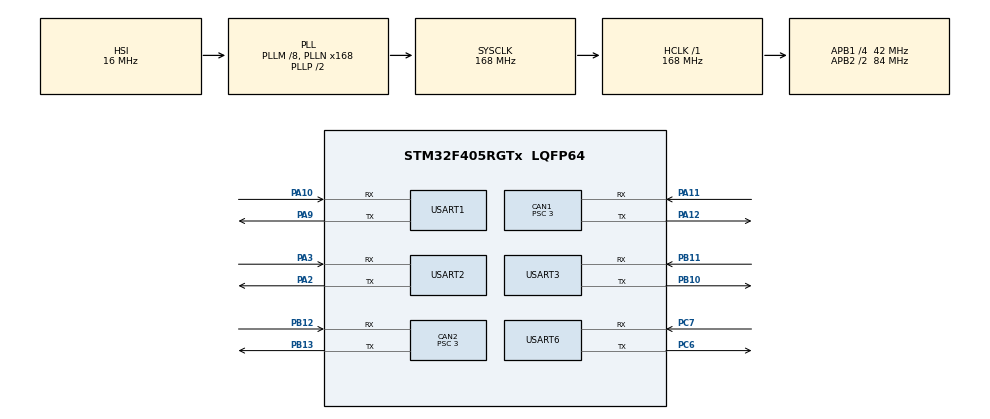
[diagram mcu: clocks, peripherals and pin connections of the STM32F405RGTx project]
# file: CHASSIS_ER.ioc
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CAN1.BS1=CAN_BS1_7TQ
CAN1.BS2=CAN_BS2_6TQ
CAN1.CalculateBaudRate=1000000
CAN1.CalculateTimeBit=1000
CAN1.CalculateTimeQuantum=71.42857142857143
CAN1.Prescaler=3
CAN2.BS1=CAN_BS1_7TQ
CAN2.BS2=CAN_BS2_6TQ
CAN2.CalculateBaudRate=1000000
CAN2.CalculateTimeBit=1000
CAN2.CalculateTimeQuantum=71.42857142857143
CAN2.Prescaler=3
Dma.Request0=USART1_TX
Dma.Request1=USART6_RX
Dma.Request2=USART2_RX
Dma.Request3=USART3_RX
Dma.USART1_TX.0.Direction=DMA_MEMORY_TO_PERIPH
Dma.USART1_TX.0.FIFOMode=DMA_FIFOMODE_DISABLE
Dma.USART1_TX.0.Instance=DMA2_Stream7
Dma.USART1_TX.0.MemDataAlignment=DMA_MDATAALIGN_BYTE
Dma.USART1_TX.0.MemInc=DMA_MINC_ENABLE
Dma.USART1_TX.0.Mode=DMA_NORMAL
Dma.USART1_TX.0.PeriphDataAlignment=DMA_PDATAALIGN_BYTE
Dma.USART1_TX.0.PeriphInc=DMA_PINC_DISABLE
Dma.USART1_TX.0.Priority=DMA_PRIORITY_LOW
Dma.USART2_RX.2.Direction=DMA_PERIPH_TO_MEMORY
Dma.USART2_RX.2.FIFOMode=DMA_FIFOMODE_DISABLE
Dma.USART2_RX.2.Instance=DMA1_Stream5
Dma.USART2_RX.2.MemDataAlignment=DMA_MDATAALIGN_BYTE
Dma.USART2_RX.2.MemInc=DMA_MINC_ENABLE
Dma.USART2_RX.2.Mode=DMA_NORMAL
Dma.USART2_RX.2.PeriphDataAlignment=DMA_PDATAALIGN_BYTE
Dma.USART2_RX.2.PeriphInc=DMA_PINC_DISABLE
Dma.USART2_RX.2.Priority=DMA_PRIORITY_LOW
Dma.USART3_RX.3.Direction=DMA_PERIPH_TO_MEMORY
Dma.USART3_RX.3.FIFOMode=DMA_FIFOMODE_DISABLE
Dma.USART3_RX.3.Instance=DMA1_Stream1
Dma.USART3_RX.3.MemDataAlignment=DMA_MDATAALIGN_BYTE
Dma.USART3_RX.3.MemInc=DMA_MINC_ENABLE
Dma.USART3_RX.3.Mode=DMA_NORMAL
Dma.USART3_RX.3.PeriphDataAlignment=DMA_PDATAALIGN_BYTE
Dma.USART3_RX.3.PeriphInc=DMA_PINC_DISABLE
Dma.USART3_RX.3.Priority=DMA_PRIORITY_LOW
Dma.USART6_RX.1.Direction=DMA_PERIPH_TO_MEMORY
Dma.USART6_RX.1.FIFOMode=DMA_FIFOMODE_DISABLE
Dma.USART6_RX.1.Instance=DMA2_Stream1
Dma.USART6_RX.1.MemDataAlignment=DMA_MDATAALIGN_BYTE
Dma.USART6_RX.1.MemInc=DMA_MINC_ENABLE
Dma.USART6_RX.1.Mode=DMA_NORMAL
Dma.USART6_RX.1.PeriphDataAlignment=DMA_PDATAALIGN_BYTE
Dma.USART6_RX.1.PeriphInc=DMA_PINC_DISABLE
Dma.USART6_RX.1.Priority=DMA_PRIORITY_LOW
FREERTOS.MEMORY_ALLOCATION=0
FREERTOS.Queues01=angle_front,1,float,0,Dynamic,NULL,NULL;angle_left,1,float,0,Dynamic,NULL,NULL;angle_right,1,float,0,Dynamic,NULL,NULL
FREERTOS.Tasks01=DebugTask,-2,1024,Debug,Default,NULL,Dynamic,NULL,NULL;AngleTask,0,1024,Angle,Default,NULL,Dynamic,NULL,NULL;SpeedTask,0,1024,Speed,Default,NULL,Dynamic,NULL,NULL;HeartbeatTask,2,1024,Heartbeat,Default,NULL,Dynamic,NULL,NULL
FREERTOS.configENABLE_FPU=1
FREERTOS.configTOTAL_HEAP_SIZE=25360
Mcu.Family=STM32F4
Mcu.Name=STM32F405RGTx
Mcu.Package=LQFP64
NVIC.CAN1_RX0_IRQn=true\:5\:0\:false\:false\:true\:true\:true\:true\:true
NVIC.CAN2_RX0_IRQn=true\:5\:0\:false\:false\:true\:true\:true\:true\:true
NVIC.DMA1_Stream1_IRQn=true\:5\:0\:false\:false\:true\:true\:false\:true\:true
NVIC.DMA1_Stream5_IRQn=true\:5\:0\:false\:false\:true\:true\:false\:true\:true
NVIC.DMA2_Stream1_IRQn=true\:5\:0\:false\:false\:true\:true\:false\:true\:true
NVIC.DMA2_Stream7_IRQn=true\:5\:0\:false\:false\:true\:true\:false\:true\:true
NVIC.PriorityGroup=NVIC_PRIORITYGROUP_4
NVIC.USART1_IRQn=true\:5\:0\:false\:false\:true\:true\:true\:true\:true
NVIC.USART2_IRQn=true\:5\:0\:false\:false\:true\:true\:true\:true\:true
NVIC.USART3_IRQn=true\:5\:0\:false\:false\:true\:true\:true\:true\:true
NVIC.USART6_IRQn=true\:5\:0\:false\:false\:true\:true\:true\:true\:true
PA10.Mode=Asynchronous
PA10.Signal=USART1_RX
PA11.Mode=CAN_Activate
PA11.Signal=CAN1_RX
PA12.Mode=CAN_Activate
PA12.Signal=CAN1_TX
PA2.Mode=Asynchronous
PA2.Signal=USART2_TX
PA3.Mode=Asynchronous
PA3.Signal=USART2_RX
PA9.Mode=Asynchronous
PA9.Signal=USART1_TX
PB10.Mode=Asynchronous
PB10.Signal=USART3_TX
PB11.Mode=Asynchronous
PB11.Signal=USART3_RX
PB12.Mode=CAN_Activate
PB12.Signal=CAN2_RX
PB13.Mode=CAN_Activate
PB13.Signal=CAN2_TX
PC6.Mode=Asynchronous
PC6.Signal=USART6_TX
PC7.Mode=Asynchronous
PC7.Signal=USART6_RX
PH0-OSC_IN.Mode=HSE-External-Oscillator
PH0-OSC_IN.Signal=RCC_OSC_IN
PH1-OSC_OUT.Mode=HSE-External-Oscillator
PH1-OSC_OUT.Signal=RCC_OSC_OUT
ProjectManager.HeapSize=0x200
ProjectManager.StackSize=0x400
ProjectManager.TargetToolchain=STM32CubeIDE
RCC.48MHZClocksFreq_Value=84000000
RCC.AHBFreq_Value=168000000
RCC.APB1CLKDivider=RCC_HCLK_DIV4
RCC.APB1Freq_Value=42000000
RCC.APB1TimFreq_Value=84000000
RCC.APB2CLKDivider=RCC_HCLK_DIV2
RCC.APB2Freq_Value=84000000
RCC.APB2TimFreq_Value=168000000
RCC.CortexFreq_Value=168000000
RCC.HCLKFreq_Value=168000000
RCC.HSE_VALUE=8000000
RCC.HSI_VALUE=16000000
RCC.LSE_VALUE=32768
RCC.PLLM=8
RCC.PLLN=168
RCC.SYSCLKFreq_VALUE=168000000
RCC.SYSCLKSource=RCC_SYSCLKSOURCE_PLLCLK
RCC.VCOOutputFreq_Value=336000000
USART1.VirtualMode=VM_ASYNC
USART2.VirtualMode=VM_ASYNC
USART3.VirtualMode=VM_ASYNC
USART6.VirtualMode=VM_ASYNC
VP_FREERTOS_VS_CMSIS_V1.Mode=CMSIS_V1
board=custom

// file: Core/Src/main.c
/* USER CODE BEGIN Header */
/**
  ******************************************************************************
  * @file           : main.c
  * @brief          : Main program body
  ******************************************************************************
  * @attention
  *
  * Copyright (c) 2023 STMicroelectronics.
  * All rights reserved.
  *
  * This software is licensed under terms that can be found in the LICENSE file
  * in the root directory of this software component.
  * If no LICENSE file comes with this software, it is provided AS-IS.
  *
  ******************************************************************************
  */
/* USER CODE END Header */
#include "main.h"
#include "cmsis_os.h"
#include "can.h"
#include "dma.h"
#include "usart.h"
#include "gpio.h"
#include "retarget.h"

void SystemClock_Config(void);
void MX_FREERTOS_Init(void);

int main(void)
{

  /* MCU Configuration--------------------------------------------------------*/

  /* Reset of all peripherals, Initializes the Flash interface and the Systick. */
  HAL_Init();

  /* Configure the system clock */
  SystemClock_Config();

  /* Initialize all configured peripherals */
  MX_GPIO_Init();
  MX_DMA_Init();
  MX_CAN1_Init();
  MX_CAN2_Init();
  MX_USART1_UART_Init();
  MX_USART6_UART_Init();
  MX_USART2_UART_Init();
  MX_USART3_UART_Init();
  /* USER CODE BEGIN 2 */
    RetargetInit(&huart1);
  /* USER CODE END 2 */

  /* Call init function for freertos objects (in freertos.c) */
  MX_FREERTOS_Init();

  /* Start scheduler */
  osKernelStart();

  /* We should never get here as control is now taken by the scheduler */
  /* Infinite loop */
  while (1)
  {

  }
}

void SystemClock_Config(void)
{
  RCC_OscInitTypeDef RCC_OscInitStruct = {0};
  RCC_ClkInitTypeDef RCC_ClkInitStruct = {0};

  /** Configure the main internal regulator output voltage
  */
  __HAL_RCC_PWR_CLK_ENABLE();
  __HAL_PWR_VOLTAGESCALING_CONFIG(PWR_REGULATOR_VOLTAGE_SCALE1);

  /** Initializes the RCC Oscillators according to the specified parameters
  * in the RCC_OscInitTypeDef structure.
  */
  RCC_OscInitStruct.OscillatorType = RCC_OSCILLATORTYPE_HSI;
  RCC_OscInitStruct.HSIState = RCC_HSI_ON;
  RCC_OscInitStruct.HSICalibrationValue = RCC_HSICALIBRATION_DEFAULT;
  RCC_OscInitStruct.PLL.PLLState = RCC_PLL_ON;
  RCC_OscInitStruct.PLL.PLLSource = RCC_PLLSOURCE_HSI;
  RCC_OscInitStruct.PLL.PLLM = 8;
  RCC_OscInitStruct.PLL.PLLN = 168;
  RCC_OscInitStruct.PLL.PLLP = RCC_PLLP_DIV2;
  RCC_OscInitStruct.PLL.PLLQ = 4;
  if (HAL_RCC_OscConfig(&RCC_OscInitStruct) != HAL_OK)
  {
    Error_Handler();
  }

  /** Initializes the CPU, AHB and APB buses clocks
  */
  RCC_ClkInitStruct.ClockType = RCC_CLOCKTYPE_HCLK|RCC_CLOCKTYPE_SYSCLK
                              |RCC_CLOCKTYPE_PCLK1|RCC_CLOCKTYPE_PCLK2;
  RCC_ClkInitStruct.SYSCLKSource = RCC_SYSCLKSOURCE_PLLCLK;
  RCC_ClkInitStruct.AHBCLKDivider = RCC_SYSCLK_DIV1;
  RCC_ClkInitStruct.APB1CLKDivider = RCC_HCLK_DIV4;
  RCC_ClkInitStruct.APB2CLKDivider = RCC_HCLK_DIV2;

  if (HAL_RCC_ClockConfig(&RCC_ClkInitStruct, FLASH_LATENCY_5) != HAL_OK)
  {
    Error_Handler();
  }
}

void Error_Handler(void)
{
  __disable_irq();
  while (1)
  {
  }
}

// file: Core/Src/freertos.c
/* USER CODE BEGIN Header */
/**
  ******************************************************************************
  * File Name          : freertos.c
  * Description        : Code for freertos applications
  ******************************************************************************
  * @attention
  *
  * Copyright (c) 2023 STMicroelectronics.
  * All rights reserved.
  *
  * This software is licensed under terms that can be found in the LICENSE file
  * in the root directory of this software component.
  * If no LICENSE file comes with this software, it is provided AS-IS.
  *
  ******************************************************************************
  */
/* USER CODE END Header */

#include "FreeRTOS.h"
#include "task.h"
#include "main.h"
#include "cmsis_os.h"

/* USER CODE BEGIN Includes */
#include "steering.h"
#include "retarget.h"
/* USER CODE END Includes */

osThreadId DebugTaskHandle;
osThreadId AngleTaskHandle;
osThreadId SpeedTaskHandle;
osThreadId HeartbeatTaskHandle;
osMessageQId angle_frontHandle;
osMessageQId angle_leftHandle;
osMessageQId angle_rightHandle;

void Debug(void const * argument);
void Angle(void const * argument);
void Speed(void const * argument);
void Heartbeat(void const * argument);

void MX_FREERTOS_Init(void); /* (MISRA C 2004 rule 8.1) */

void MX_FREERTOS_Init(void) {

  /* Create the queue(s) */
  /* definition and creation of angle_front */
  osMessageQDef(angle_front, 1, float);
  angle_frontHandle = osMessageCreate(osMessageQ(angle_front), NULL);

  /* definition and creation of angle_left */
  osMessageQDef(angle_left, 1, float);
  angle_leftHandle = osMessageCreate(osMessageQ(angle_left), NULL);

  /* definition and creation of angle_right */
  osMessageQDef(angle_right, 1, float);
  angle_rightHandle = osMessageCreate(osMessageQ(angle_right), NULL);

  /* Create the thread(s) */
  /* definition and creation of DebugTask */
  osThreadDef(DebugTask, Debug, osPriorityLow, 0, 1024);
  DebugTaskHandle = osThreadCreate(osThread(DebugTask), NULL);

  /* definition and creation of AngleTask */
  osThreadDef(AngleTask, Angle, osPriorityNormal, 0, 1024);
  AngleTaskHandle = osThreadCreate(osThread(AngleTask), NULL);

  /* definition and creation of SpeedTask */
  osThreadDef(SpeedTask, Speed, osPriorityNormal, 0, 1024);
  SpeedTaskHandle = osThreadCreate(osThread(SpeedTask), NULL);

  /* definition and creation of HeartbeatTask */
  osThreadDef(HeartbeatTask, Heartbeat, osPriorityHigh, 0, 1024);
  HeartbeatTaskHandle = osThreadCreate(osThread(HeartbeatTask), NULL);

  /* USER CODE BEGIN RTOS_THREADS */
    vTaskSuspend(SpeedTaskHandle);
    vTaskSuspend(AngleTaskHandle);
  /* add threads, ... */
  /* USER CODE END RTOS_THREADS */

}

void Debug(void const * argument)
{
  /* USER CODE BEGIN Debug */
//    osDelay(1000);
//    osDelay(1000);
//    osDelay(1000);
//    DGM_CAN_CMD_MOTOR_ENABLE(&hcan2, DGM_FRONT_ID);
//    DGM_CAN_CMD_MOTOR_ENABLE(&hcan2, DGM_LEFT_ID);
//    DGM_CAN_CMD_MOTOR_ENABLE(&hcan2, DGM_RIGHT_ID);
//    osDelay(10);
//    DGM_CAN_CMD_MOTOR_ENABLE(&hcan2, DGM_FRONT_ID);
//    DGM_CAN_CMD_MOTOR_ENABLE(&hcan2, DGM_LEFT_ID);
//    DGM_CAN_CMD_MOTOR_ENABLE(&hcan2, DGM_RIGHT_ID);
//    osDelay(10);
//    DGM_CAN_CMD_MOTOR_ENABLE(&hcan2, DGM_FRONT_ID);
//    DGM_CAN_CMD_MOTOR_ENABLE(&hcan2, DGM_LEFT_ID);
//    DGM_CAN_CMD_MOTOR_ENABLE(&hcan2, DGM_RIGHT_ID);
//    osDelay(10);

//    //demo版本 固定写每个轮子的角度值和速度值
//    speed_front = 1;
////    speed_left = 1;
////    speed_right = 1;
//    angle_front_target = 90 ;
////    angle_left_target =90 ;
////    angle_right_target = 90 ;

    vTaskResume(AngleTaskHandle);
    vTaskResume(SpeedTaskHandle);
    vTaskSuspend(HeartbeatTaskHandle);
//    vTaskSuspend(DebugTaskHandle);
  /* Infinite loop */
  for(;;)
  {
//      usart_printf("%f,%f,%f\r\n",angle_feedback[0].total_angle,angle_feedback[1].total_angle,angle_feedback[2].total_angle);
//      usart_printf("%d\r\n",motor_info[0].speed);
      osDelay(100);
  }
  /* USER CODE END Debug */
}

void Angle(void const * argument)
{
  /* USER CODE BEGIN Angle */
    float angle_front, angle_left, angle_right,angle_back;
    float angle_out_front, angle_out_left, angle_out_right,angle_out_back;
    int16_t speed_out_front , speed_out_left, speed_out_right,speed_out_back;

    PID_Set(&PID_SPD_FRONT,3.0f,0.03f,0,30000,0);
    PID_Set(&PID_ANGLE_FRONT,300.0f,0,0,0,0);

    PID_Set(&PID_SPD_LEFT,3.0f,0.03f,0,30000,0);
    PID_Set(&PID_ANGLE_LEFT,300.0f,0,0,0,0);

    PID_Set(&PID_SPD_RIGHT,3.0f,0.03f,0,30000,0);
    PID_Set(&PID_ANGLE_RIGHT,300.0f,0.0f,0,0,0);

    PID_Set(&PID_SPD_BACK,3.0f,0.03f,0,30000,0);
    PID_Set(&PID_ANGLE_BACK,300.0f,0.0f,0,0,0);
  /* Infinite loop */
  for(;;)
  {

//      if(xQueueReceive(angle_frontHandle,&angle_front,0) == pdTRUE)
//      {
//          angle_out_front = PID_realise(&PID_ANGLE_FRONT,angle_front_target,angle_front,30000);  // 目标值来自can接收主控的  实际值是编码器通过串口读取
//          speed_out_front = (int16_t)PID_realise(&PID_SPD_FRONT,1000,motor_info[0].speed,M2006_CURRENT_MAX);
//      }
//      if(xQueueReceive(angle_leftHandle,&angle_left,0) == pdTRUE)
//      {
//          angle_out_left = PID_realise(&PID_ANGLE_LEFT,angle_left_target,angle_left,30000);
//          speed_out_left = (int16_t)PID_realise(&PID_SPD_LEFT,1000,motor_info[1].speed,M2006_CURRENT_MAX);
//      }
//
//      if(xQueueReceive(angle_rightHandle,&angle_right,0) == pdTRUE)
//      {
//          angle_out_right = PID_realise(&PID_ANGLE_RIGHT,angle_right_target,angle_right,30000);
//          speed_out_right = (int16_t)PID_realise(&PID_SPD_RIGHT,1000,motor_info[2].speed,M2006_CURRENT_MAX);
//      }

      speed_out_front = (int16_t)PID_realise(&PID_SPD_FRONT,speed_front,motor_info[0].speed,M2006_CURRENT_MAX);
      speed_out_left = (int16_t)PID_realise(&PID_SPD_LEFT,speed_left,motor_info[1].speed,M2006_CURRENT_MAX);
      speed_out_right = (int16_t)PID_realise(&PID_SPD_RIGHT,speed_right,motor_info[2].speed,M2006_CURRENT_MAX);
      speed_out_back = (int16_t)PID_realise(&PID_SPD_BACK,speed_back,motor_info[3].speed,M2006_CURRENT_MAX);

//      speed_out_front = (int16_t)PID_realise(&PID_SPD_FRONT,1000,motor_info[0].speed,M2006_CURRENT_MAX);
//      speed_out_left = (int16_t)PID_realise(&PID_SPD_LEFT,1000,motor_info[1].speed,M2006_CURRENT_MAX);
//      speed_out_right = (int16_t)PID_realise(&PID_SPD_RIGHT,1000,motor_info[2].speed,M2006_CURRENT_MAX);
//      speed_out_back = (int16_t)PID_realise(&PID_SPD_BACK,1000,motor_info[3].speed,M2006_CURRENT_MAX);

      set_current(&hcan2,0x200,speed_out_front,speed_out_left,speed_out_right,speed_out_back);
//      set_current(&hcan2,0x200,800,800,800,800);
      osDelay(5);
  }
  /* USER CODE END Angle */
}

void Speed(void const * argument)
{
  /* USER CODE BEGIN Speed */
  /* Infinite loop */
  for(;;)
  {
//      DGM_SET_TARGET_VELOCITY(&hcan2, DGM_FRONT_ID, speed_front);  // speed只在can接收里被设置
//      DGM_SET_TARGET_VELOCITY(&hcan2, DGM_LEFT_ID, -speed_left);
//      DGM_SET_TARGET_VELOCITY(&hcan2, DGM_RIGHT_ID, speed_right);
      osDelay(5);
  }
  /* USER CODE END Speed */
}

void Heartbeat(void const * argument)
{
  /* USER CODE BEGIN Heartbeat */
  /* Infinite loop */
  for(;;)
  {
      if(heartbeat_check() == disable)
      {
          vTaskSuspend(SpeedTaskHandle);
//          DGM_SET_TARGET_VELOCITY(&hcan2, DGM_FRONT_ID, 0.0f);
//          DGM_SET_TARGET_VELOCITY(&hcan2, DGM_LEFT_ID, 0.0f);
//          DGM_SET_TARGET_VELOCITY(&hcan2, DGM_RIGHT_ID, 0.0f);
      }
      else
          vTaskResume(SpeedTaskHandle);
    osDelay(10);
  }
  /* USER CODE END Heartbeat */
}
